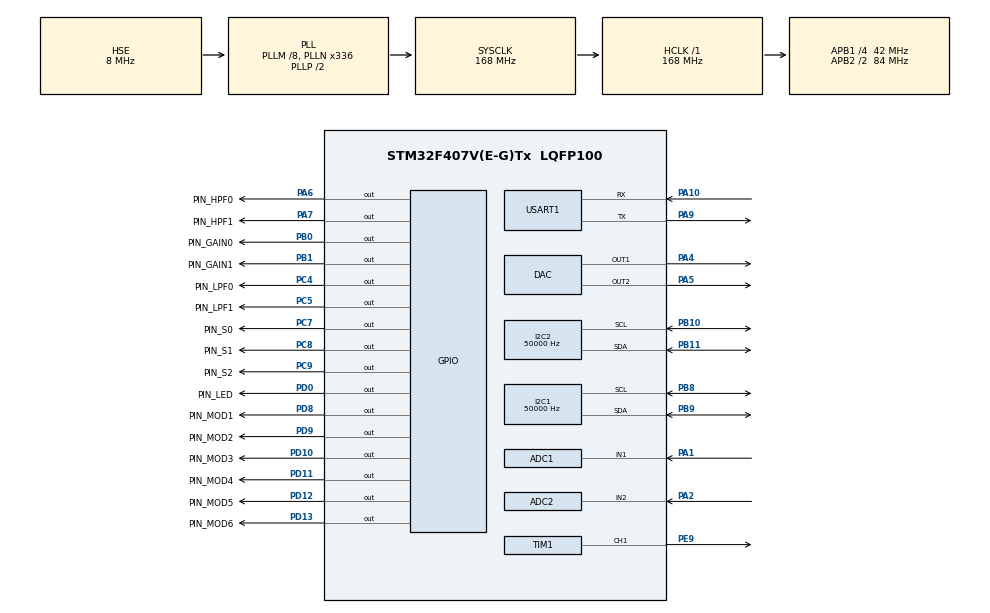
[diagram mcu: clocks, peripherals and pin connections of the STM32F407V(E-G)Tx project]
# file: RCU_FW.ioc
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ADC1.Channel-0\#ChannelRegularConversion=ADC_CHANNEL_1
ADC1.ClockPrescaler=ADC_CLOCKPRESCALER_PCLK_DIV4
ADC1.ContinuousConvMode=ENABLE
ADC1.DMAContinuousRequests=ENABLE
ADC1.NbrOfConversionFlag=1
ADC1.master=1
ADC2.Channel-0\#ChannelRegularConversion=ADC_CHANNEL_2
ADC2.ContinuousConvMode=ENABLE
ADC2.DMAContinuousRequests=ENABLE
ADC2.NbrOfConversionFlag=1
DAC.DAC_Trigger=DAC_TRIGGER_T6_TRGO
DAC.DAC_Trigger2=DAC_TRIGGER_SOFTWARE
DAC.TriangleAmplitude=DAC_TRIANGLEAMPLITUDE_127
DAC.WaveGeneration=TriangleWaveGeneration
Dma.ADC1.0.Channel=DMA_CHANNEL_0
Dma.ADC1.0.Direction=DMA_PERIPH_TO_MEMORY
Dma.ADC1.0.FIFOMode=DMA_FIFOMODE_ENABLE
Dma.ADC1.0.FIFOThreshold=DMA_FIFO_THRESHOLD_HALFFULL
Dma.ADC1.0.Instance=DMA2_Stream0
Dma.ADC1.0.MemBurst=DMA_MBURST_SINGLE
Dma.ADC1.0.MemDataAlignment=DMA_MDATAALIGN_HALFWORD
Dma.ADC1.0.MemInc=DMA_MINC_ENABLE
Dma.ADC1.0.Mode=DMA_CIRCULAR
Dma.ADC1.0.PeriphBurst=DMA_PBURST_SINGLE
Dma.ADC1.0.PeriphDataAlignment=DMA_PDATAALIGN_HALFWORD
Dma.ADC1.0.PeriphInc=DMA_PINC_DISABLE
Dma.ADC1.0.Priority=DMA_PRIORITY_HIGH
Dma.ADC2.2.Channel=DMA_CHANNEL_1
Dma.ADC2.2.Direction=DMA_PERIPH_TO_MEMORY
Dma.ADC2.2.FIFOMode=DMA_FIFOMODE_ENABLE
Dma.ADC2.2.FIFOThreshold=DMA_FIFO_THRESHOLD_HALFFULL
Dma.ADC2.2.Instance=DMA2_Stream2
Dma.ADC2.2.MemBurst=DMA_MBURST_SINGLE
Dma.ADC2.2.MemDataAlignment=DMA_MDATAALIGN_HALFWORD
Dma.ADC2.2.MemInc=DMA_MINC_ENABLE
Dma.ADC2.2.Mode=DMA_CIRCULAR
Dma.ADC2.2.PeriphBurst=DMA_PBURST_SINGLE
Dma.ADC2.2.PeriphDataAlignment=DMA_PDATAALIGN_HALFWORD
Dma.ADC2.2.PeriphInc=DMA_PINC_DISABLE
Dma.ADC2.2.Priority=DMA_PRIORITY_HIGH
Dma.DAC1.1.Channel=DMA_CHANNEL_7
Dma.DAC1.1.Direction=DMA_MEMORY_TO_PERIPH
Dma.DAC1.1.FIFOMode=DMA_FIFOMODE_DISABLE
Dma.DAC1.1.FIFOThreshold=DMA_FIFO_THRESHOLD_FULL
Dma.DAC1.1.Instance=DMA1_Stream5
Dma.DAC1.1.MemBurst=DMA_MBURST_SINGLE
Dma.DAC1.1.MemDataAlignment=DMA_MDATAALIGN_HALFWORD
Dma.DAC1.1.MemInc=DMA_MINC_ENABLE
Dma.DAC1.1.Mode=DMA_CIRCULAR
Dma.DAC1.1.PeriphBurst=DMA_PBURST_SINGLE
Dma.DAC1.1.PeriphDataAlignment=DMA_PDATAALIGN_HALFWORD
Dma.DAC1.1.PeriphInc=DMA_PINC_DISABLE
Dma.DAC1.1.Priority=DMA_PRIORITY_MEDIUM
Dma.Request0=ADC1
Dma.Request1=DAC1
Dma.Request2=ADC2
Dma.Request3=USART1_TX
Dma.USART1_TX.3.Channel=DMA_CHANNEL_4
Dma.USART1_TX.3.Direction=DMA_MEMORY_TO_PERIPH
Dma.USART1_TX.3.FIFOMode=DMA_FIFOMODE_DISABLE
Dma.USART1_TX.3.FIFOThreshold=DMA_FIFO_THRESHOLD_FULL
Dma.USART1_TX.3.Instance=DMA2_Stream7
Dma.USART1_TX.3.MemBurst=DMA_MBURST_SINGLE
Dma.USART1_TX.3.MemDataAlignment=DMA_MDATAALIGN_BYTE
Dma.USART1_TX.3.MemInc=DMA_MINC_ENABLE
Dma.USART1_TX.3.Mode=DMA_NORMAL
Dma.USART1_TX.3.PeriphBurst=DMA_PBURST_SINGLE
Dma.USART1_TX.3.PeriphDataAlignment=DMA_PDATAALIGN_BYTE
Dma.USART1_TX.3.PeriphInc=DMA_PINC_DISABLE
Dma.USART1_TX.3.Priority=DMA_PRIORITY_LOW
I2C1.ClockSpeed=50000
I2C2.AddressingMode=I2C_ADDRESSINGMODE_7BIT
I2C2.ClockSpeed=50000
I2C2.DualAddressMode=I2C_DUALADDRESS_DISABLED
I2C2.I2C_Mode=I2C_Standard
I2C2.OwnAddress=110
Mcu.Family=STM32F4
Mcu.Name=STM32F407V(E-G)Tx
Mcu.Package=LQFP100
NVIC.DMA1_Stream5_IRQn=true\:0\:0\:false
NVIC.DMA2_Stream0_IRQn=true\:0\:0\:false
NVIC.DMA2_Stream2_IRQn=true\:0\:0\:false
NVIC.DMA2_Stream7_IRQn=true\:0\:0\:false
NVIC.PriorityGroup=NVIC_PRIORITYGROUP_4
PA1.Signal=ADCx_IN1
PA10.Mode=Asynchronous
PA10.Signal=USART1_RX
PA13.Mode=JTAG(5-pin)
PA13.Signal=SYS_JTMS-SWDIO
PA14.Mode=JTAG(5-pin)
PA14.Signal=SYS_JTCK-SWCLK
PA15.Mode=JTAG(5-pin)
PA15.Signal=SYS_JTDI
PA2.Signal=ADCx_IN2
PA4.Signal=COMP_DAC1_group
PA5.Signal=COMP_DAC2_group
PA6.GPIO_Label=PIN_HPF0
PA6.GPIO_ModeDefaultOutputPP=GPIO_MODE_OUTPUT_PP
PA6.GPIO_PuPd=GPIO_NOPULL
PA6.GPIO_Speed=GPIO_SPEED_LOW
PA6.Signal=GPIO_Output
PA7.GPIO_Label=PIN_HPF1
PA7.GPIO_ModeDefaultOutputPP=GPIO_MODE_OUTPUT_PP
PA7.GPIO_PuPd=GPIO_NOPULL
PA7.GPIO_Speed=GPIO_SPEED_LOW
PA7.Signal=GPIO_Output
PA9.Mode=Asynchronous
PA9.Signal=USART1_TX
PB0.GPIO_Label=PIN_GAIN0
PB0.GPIO_ModeDefaultOutputPP=GPIO_MODE_OUTPUT_PP
PB0.GPIO_PuPd=GPIO_NOPULL
PB0.GPIO_Speed=GPIO_SPEED_LOW
PB0.Signal=GPIO_Output
PB1.GPIO_Label=PIN_GAIN1
PB1.GPIO_ModeDefaultOutputPP=GPIO_MODE_OUTPUT_PP
PB1.GPIO_PuPd=GPIO_NOPULL
PB1.GPIO_Speed=GPIO_SPEED_LOW
PB1.Signal=GPIO_Output
PB10.Mode=I2C
PB10.Signal=I2C2_SCL
PB11.Mode=I2C
PB11.Signal=I2C2_SDA
PB3.Mode=JTAG(5-pin)
PB3.Signal=SYS_JTDO-SWO
PB4.Mode=JTAG(5-pin)
PB4.Signal=SYS_JTRST
PB8.Mode=I2C
PB8.Signal=I2C1_SCL
PB9.Mode=I2C
PB9.Signal=I2C1_SDA
PC4.GPIO_Label=PIN_LPF0
PC4.GPIO_ModeDefaultOutputPP=GPIO_MODE_OUTPUT_PP
PC4.GPIO_PuPd=GPIO_NOPULL
PC4.GPIO_Speed=GPIO_SPEED_LOW
PC4.Signal=GPIO_Output
PC5.GPIO_Label=PIN_LPF1
PC5.GPIO_ModeDefaultOutputPP=GPIO_MODE_OUTPUT_PP
PC5.GPIO_PuPd=GPIO_NOPULL
PC5.GPIO_Speed=GPIO_SPEED_LOW
PC5.Signal=GPIO_Output
PC7.GPIO_Label=PIN_S0
PC7.GPIO_ModeDefaultOutputPP=GPIO_MODE_OUTPUT_PP
PC7.GPIO_PuPd=GPIO_NOPULL
PC7.GPIO_Speed=GPIO_SPEED_LOW
PC7.Signal=GPIO_Output
PC8.GPIO_Label=PIN_S1
PC8.GPIO_ModeDefaultOutputPP=GPIO_MODE_OUTPUT_PP
PC8.GPIO_PuPd=GPIO_NOPULL
PC8.GPIO_Speed=GPIO_SPEED_LOW
PC8.Signal=GPIO_Output
PC9.GPIO_Label=PIN_S2
PC9.GPIO_ModeDefaultOutputPP=GPIO_MODE_OUTPUT_PP
PC9.GPIO_PuPd=GPIO_NOPULL
PC9.GPIO_Speed=GPIO_SPEED_LOW
PC9.Signal=GPIO_Output
PD0.GPIO_Label=PIN_LED
PD0.GPIO_ModeDefaultOutputPP=GPIO_MODE_OUTPUT_PP
PD0.GPIO_PuPd=GPIO_NOPULL
PD0.GPIO_Speed=GPIO_SPEED_LOW
PD0.Signal=GPIO_Output
PD10.GPIO_Label=PIN_MOD3
PD10.GPIO_ModeDefaultOutputPP=GPIO_MODE_OUTPUT_PP
PD10.GPIO_PuPd=GPIO_NOPULL
PD10.GPIO_Speed=GPIO_SPEED_LOW
PD10.Signal=GPIO_Output
PD11.GPIO_Label=PIN_MOD4
PD11.GPIO_ModeDefaultOutputPP=GPIO_MODE_OUTPUT_PP
PD11.GPIO_PuPd=GPIO_NOPULL
PD11.GPIO_Speed=GPIO_SPEED_LOW
PD11.Signal=GPIO_Output
PD12.GPIO_Label=PIN_MOD5
PD12.GPIO_ModeDefaultOutputPP=GPIO_MODE_OUTPUT_PP
PD12.GPIO_PuPd=GPIO_NOPULL
PD12.GPIO_Speed=GPIO_SPEED_LOW
PD12.Signal=GPIO_Output
PD13.GPIO_Label=PIN_MOD6
PD13.GPIO_ModeDefaultOutputPP=GPIO_MODE_OUTPUT_PP
PD13.GPIO_PuPd=GPIO_NOPULL
PD13.GPIO_Speed=GPIO_SPEED_LOW
PD13.Signal=GPIO_Output
PD8.GPIO_Label=PIN_MOD1
PD8.GPIO_ModeDefaultOutputPP=GPIO_MODE_OUTPUT_PP
PD8.GPIO_PuPd=GPIO_NOPULL
PD8.GPIO_Speed=GPIO_SPEED_LOW
PD8.Signal=GPIO_Output
PD9.GPIO_Label=PIN_MOD2
PD9.GPIO_ModeDefaultOutputPP=GPIO_MODE_OUTPUT_PP
PD9.GPIO_PuPd=GPIO_NOPULL
PD9.GPIO_Speed=GPIO_SPEED_LOW
PD9.Signal=GPIO_Output
PE9.Signal=S_TIM1_CH1
PH0-OSC_IN.Mode=HSE-External-Oscillator
PH0-OSC_IN.Signal=RCC_OSC_IN
PH1-OSC_OUT.Mode=HSE-External-Oscillator
PH1-OSC_OUT.Signal=RCC_OSC_OUT
ProjectManager.TargetToolchain=SW4STM32
RCC.48MHZClocksFreq_Value=42000000
RCC.AHBFreq_Value=168000000
RCC.APB1CLKDivider=RCC_HCLK_DIV4
RCC.APB1Freq_Value=42000000
RCC.APB1TimFreq_Value=84000000
RCC.APB2CLKDivider=RCC_HCLK_DIV2
RCC.APB2Freq_Value=84000000
RCC.APB2TimFreq_Value=168000000
RCC.CortexFreq_Value=168000000
RCC.HCLKFreq_Value=168000000
RCC.HSE_VALUE=8000000
RCC.HSI_VALUE=16000000
RCC.LSE_VALUE=32768
RCC.PLLM=8
RCC.PLLN=336
RCC.PLLQ=8
RCC.PLLSourceVirtual=RCC_PLLSOURCE_HSE
RCC.SYSCLKFreq_VALUE=168000000
RCC.SYSCLKSource=RCC_SYSCLKSOURCE_PLLCLK
RCC.VCOOutputFreq_Value=336000000
SH.ADCx_IN1.0=ADC1_IN1,IN1
SH.ADCx_IN2.0=ADC2_IN2,IN2
SH.COMP_DAC1_group.0=DAC_OUT1,DAC_OUT1
SH.COMP_DAC2_group.0=DAC_OUT2,DAC_OUT2
SH.S_TIM1_CH1.0=TIM1_CH1,Output Compare1 CH1
TIM1.ClockDivision=TIM_CLOCKDIVISION_DIV2
TIM1.OCMode_1=TIM_OCMODE_TOGGLE
TIM6.Period=32768
TIM6.Prescaler=1
TIM6.TIM_MasterOutputTrigger=TIM_TRGO_UPDATE
VP_RNG_VS_RNG.Mode=RNG_Activate
VP_TIM1_VS_ClockSourceINT.Mode=Internal
VP_TIM6_VS_ClockSourceINT.Mode=Enable_Timer
board=RCU_FW

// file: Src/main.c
/**
  ******************************************************************************
  * File Name          : main.c
  * Description        : Main program body
  ******************************************************************************
  *
  * COPYRIGHT(c) 2015 STMicroelectronics
  *
  * Redistribution and use in source and binary forms, with or without modification,
  * are permitted provided that the following conditions are met:
  *   1. Redistributions of source code must retain the above copyright notice,
  *      this list of conditions and the following disclaimer.
  *   2. Redistributions in binary form must reproduce the above copyright notice,
  *      this list of conditions and the following disclaimer in the documentation
  *      and/or other materials provided with the distribution.
  *   3. Neither the name of STMicroelectronics nor the names of its contributors
  *      may be used to endorse or promote products derived from this software
  *      without specific prior written permission.
  *
  * THIS SOFTWARE IS PROVIDED BY THE COPYRIGHT HOLDERS AND CONTRIBUTORS "AS IS"
  * AND ANY EXPRESS OR IMPLIED WARRANTIES, INCLUDING, BUT NOT LIMITED TO, THE
  * IMPLIED WARRANTIES OF MERCHANTABILITY AND FITNESS FOR A PARTICULAR PURPOSE ARE
  * DISCLAIMED. IN NO EVENT SHALL THE COPYRIGHT HOLDER OR CONTRIBUTORS BE LIABLE
  * FOR ANY DIRECT, INDIRECT, INCIDENTAL, SPECIAL, EXEMPLARY, OR CONSEQUENTIAL
  * DAMAGES (INCLUDING, BUT NOT LIMITED TO, PROCUREMENT OF SUBSTITUTE GOODS OR
  * SERVICES; LOSS OF USE, DATA, OR PROFITS; OR BUSINESS INTERRUPTION) HOWEVER
  * CAUSED AND ON ANY THEORY OF LIABILITY, WHETHER IN CONTRACT, STRICT LIABILITY,
  * OR TORT (INCLUDING NEGLIGENCE OR OTHERWISE) ARISING IN ANY WAY OUT OF THE USE
  * OF THIS SOFTWARE, EVEN IF ADVISED OF THE POSSIBILITY OF SUCH DAMAGE.
  *
  ******************************************************************************
  */
#include "stm32f4xx_hal.h"
#include "adc.h"
#include "dac.h"
#include "dma.h"
#include "i2c.h"
#include "rng.h"
#include "tim.h"
#include "usart.h"
#include "gpio.h"
#include "RadarControl.h"
#include "stm32_hal_legacy.h"
#include "config.h"
// #include <stdio.h>

/* USER CODE BEGIN PV */
/* Private variables ---------------------------------------------------------*/
#ifdef __GNUC__
    // when small printf set to 'yes' calls __io_putchar(int ch)
    #define PUTCHAR_PROTOTYPE int __io_putchar(int ch)
#else
    #define PUTCHAR_PROTOTYPE int fputc(int ch, FILE *f)
#endif
//#define ARM_MATH_CM4 ? use fpu?
/* USER CODE END PV */

void SystemClock_Config(void);

/* USER CODE BEGIN PFP */
/* Private function prototypes -----------------------------------------------*/
//volatile int ITM_RxBuffer = ITM_RXBUFFER_EMPTY;  /*  CMSIS Debug Input        */
uint16_t ADC1Buffer[2048];
uint16_t ADC2Buffer[2048];

//RadarControl RadarCtl;
/* USER CODE END PFP */

/* USER CODE BEGIN 0 */
//void HAL_UART_RxCpltCallback(UART_HandleTypeDef *huart);

/* USER CODE END 0 */

int main(void)
{
  /* USER CODE BEGIN 1 */
	uint32_t ret;
  /* USER CODE END 1 */

  /* MCU Configuration----------------------------------------------------------*/

  /* Reset of all peripherals, Initializes the Flash interface and the Systick. */
  HAL_Init();

  /* Configure the system clock */
  SystemClock_Config();

  /* Initialize all configured peripherals */
  MX_GPIO_Init();
  MX_DMA_Init();
  MX_ADC1_Init();
  MX_ADC2_Init();
  MX_DAC_Init();
  MX_I2C1_Init();
  MX_I2C2_Init();
  MX_RNG_Init();
  MX_TIM1_Init();
  MX_TIM6_Init();
  MX_USART1_UART_Init();

  /* USER CODE BEGIN 2 */

  // -- Enables ADC and starts conversion of the regular channels.
  if( HAL_ADC_Start(&hadc1) != HAL_OK)
	  return 0;
  if( HAL_ADC_Start(&hadc2) != HAL_OK)
	  return 0;
  // -- Enables ADC DMA request
  if (HAL_ADC_Start_DMA(&hadc1, (uint32_t*)ADC1Buffer, 2048) != HAL_OK)
	  return 0;
  if (HAL_ADC_Start_DMA(&hadc2, (uint32_t*)ADC1Buffer, 2048) != HAL_OK)
	  return 0;

  HAL_TIM_Base_Start(&htim6);
  HAL_DAC_Start(&hdac,DAC_CHANNEL_1);
  HAL_DAC_Start(&hdac,DAC_CHANNEL_2);
 // HAL_DAC_SetValue(&hdac, DAC_CHANNEL_2, DAC_ALIGN_12B_R, 0);
  //HAL_DAC_Start_DMA(&hdac, DAC_CHANNEL_1, (uint32_t*)sine_wave_data, 32, DAC_ALIGN_12B_R);

  HAL_Delay(5000);
  HAL_GPIO_WritePin(GPIOD_BASE, (1<<12), GPIO_PIN_SET);
  printf("Hello world ... \r\n");
  HAL_Delay(1000);
  /* USER CODE END 2 */

  /* Infinite loop */
  /* USER CODE BEGIN WHILE */
  while (1)
  {
	  printf("Test ... \r\n");
	  ret = setVCOFreq(3200);
	  setVCOOffset(128);
	  setFilterBaseFreq(2048);
	  HAL_GPIO_WritePin(GPIOD_BASE, (1<<13), GPIO_PIN_SET);
	  HAL_Delay(10000);

	  printf("Besonderer Test ... \r\n");

	  setFilterBaseFreq(0);
	  setVCOFreq(2000);
	  HAL_GPIO_WritePin(GPIOD_BASE, (1<<13), GPIO_PIN_RESET);
	  HAL_Delay(10000);

  /* USER CODE END WHILE */

  }

}

/** System Clock Configuration
*/
void SystemClock_Config(void)
{

  RCC_OscInitTypeDef RCC_OscInitStruct;
  RCC_ClkInitTypeDef RCC_ClkInitStruct;

  __PWR_CLK_ENABLE();

  __HAL_PWR_VOLTAGESCALING_CONFIG(PWR_REGULATOR_VOLTAGE_SCALE1);

  RCC_OscInitStruct.OscillatorType = RCC_OSCILLATORTYPE_HSE;
  RCC_OscInitStruct.HSEState = RCC_HSE_ON;
  RCC_OscInitStruct.PLL.PLLState = RCC_PLL_ON;
  RCC_OscInitStruct.PLL.PLLSource = RCC_PLLSOURCE_HSE;
  RCC_OscInitStruct.PLL.PLLM = 8;
  RCC_OscInitStruct.PLL.PLLN = 336;
  RCC_OscInitStruct.PLL.PLLP = RCC_PLLP_DIV2;
  RCC_OscInitStruct.PLL.PLLQ = 8;
  HAL_RCC_OscConfig(&RCC_OscInitStruct);

  RCC_ClkInitStruct.ClockType = RCC_CLOCKTYPE_SYSCLK|RCC_CLOCKTYPE_PCLK1
                              |RCC_CLOCKTYPE_PCLK2;
  RCC_ClkInitStruct.SYSCLKSource = RCC_SYSCLKSOURCE_PLLCLK;
  RCC_ClkInitStruct.AHBCLKDivider = RCC_SYSCLK_DIV1;
  RCC_ClkInitStruct.APB1CLKDivider = RCC_HCLK_DIV4;
  RCC_ClkInitStruct.APB2CLKDivider = RCC_HCLK_DIV2;
  HAL_RCC_ClockConfig(&RCC_ClkInitStruct, FLASH_LATENCY_5);

  HAL_SYSTICK_Config(HAL_RCC_GetHCLKFreq()/1000);

  HAL_SYSTICK_CLKSourceConfig(SYSTICK_CLKSOURCE_HCLK);

}

/* USER CODE BEGIN 4 */
//PUTCHAR_PROTOTYPE
//{
//   /// HAL_UART_Transmit(&huart1, (uint8_t *)&ch, 1, 0xFFFF);
////    HAL_UART_Transmit(&huart1, (uint8_t *)&ch, 1, 10000);
////    return ch;
//    return (ITM_SendChar(ch));
//}

int _write( int file, char *ptr, int len )
{
  int txCount;
  (void)file;
  for ( txCount = 0; txCount < len; txCount++)
  {
	  ITM_SendChar(ptr[txCount]);
	  //HAL_UART_Transmit(&huart1, (uint8_t*)&ptr[txCount], 1, 10000);
  }
  return len;
}

//void HAL_UART_RxCpltCallback(UART_HandleTypeDef *huart)
//{
//	uint8_t* uart_rx_byte;
//	HAL_UART_Receive_IT(&huart1, uart_rx_byte, 1);
//	HAL_UART_Transmit(&huart1, uart_rx_byte, 1, 10000);
//}
/* USER CODE END 4 */

/************************ (C) COPYRIGHT STMicroelectronics *****END OF FILE****/
